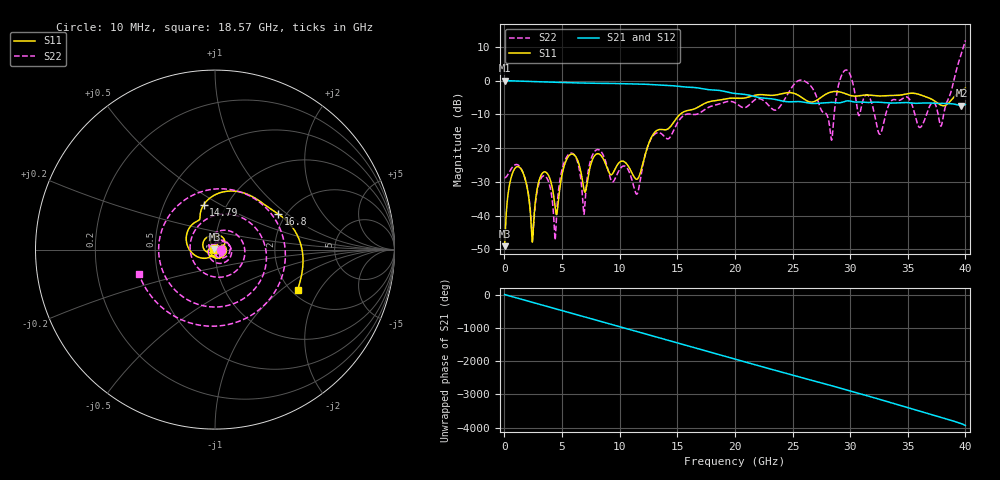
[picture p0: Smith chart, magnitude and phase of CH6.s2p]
!Keysight Technologies,N5245B,MY57181346,A.13.60.06
!Automatic Fixture Removal (AFR)
!Date: Thursday, August 08, 2019, 03:56:18
!S2P File: Measurements: S11,S21,S12,S22:
# MHz S  DB  R 50
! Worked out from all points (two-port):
!   4000 points, 10 MHz to 40 GHz, reference 50 ohm
!   highest |S21| = -0.01 dB at 10 MHz (marker M1); lowest = -7.4 dB at 39.66 GHz (marker M2)
!   |S21| within 3 dB of the highest: start of sweep to 18.81 GHz
!   lowest |S11| = -49.1 dB at 10 MHz (marker M3), VSWR 1.01, Z = 49.7 + j0.0746 ohm
!   |S11| at or under -10 dB: start of sweep to 15.24 GHz
!   |S22| runs from -47.2 to 11.9 dB; largest |S21 - S12| = 1.7e-14
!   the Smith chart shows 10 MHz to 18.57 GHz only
!   S11 on the Smith chart (normalised r, x): 10 MHz: 0.99, +0.00; 14.79 GHz: 0.78, +0.42; 16.8 GHz: 1.81, +0.87; 18.57 GHz: 2.17, -1.31
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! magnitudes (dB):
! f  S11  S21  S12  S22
! 10 MHz  -49.1  0.0  0.0  -28.8
! 1.01 GHz  -25.7  -0.1  -0.1  -24.9
! 2.41 GHz  -47.8  -0.3  -0.3  -46.0
! 3.41 GHz  -27.1  -0.4  -0.4  -28.2
! 4.41 GHz  -38.0  -0.5  -0.5  -46.8
! 5.62 GHz  -22.2  -0.6  -0.6  -21.7
! 6.68 GHz  -27.9  -0.7  -0.7  -30.9
! 8.12 GHz  -21.7  -0.8  -0.8  -20.4
! 11.49 GHz  -29.2  -1.0  -1.0  -33.7
! 13.34 GHz  -14.6  -1.3  -1.3  -15.4
! 14.79 GHz  -11.8  -1.6  -1.6  -14.0
! 16.8 GHz  -7.9  -2.2  -2.2  -9.8
! 18.57 GHz  -5.8  -2.9  -2.9  -7.0
! 20.01 GHz  -5.2  -3.8  -3.8  -6.6
! 26.67 GHz  -6.4  -6.8  -6.8  -2.0
! 28.35 GHz  -3.4  -6.5  -6.5  -17.2
! 29.57 GHz  -3.9  -6.1  -6.1  3.1
! 32.54 GHz  -4.6  -6.4  -6.4  -15.9
! 33.34 GHz  -4.4  -6.6  -6.6  -7.3
! 37.9 GHz  -7.3  -6.8  -6.8  -13.4
! 39.66 GHz  -2.9  -7.4  -7.4  8.1
! 40 GHz  -2.2  -7.1  -7.1  11.9
